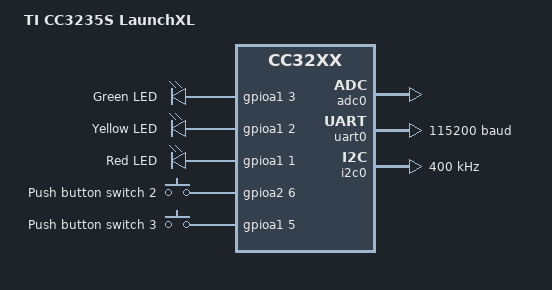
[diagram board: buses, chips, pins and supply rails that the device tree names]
/*
 * Copyright (c) 2019, Texas Instruments Incorporated
 *
 * SPDX-License-Identifier: Apache-2.0
 */

/dts-v1/;

#include <ti/cc3235s.dtsi>

/ {
	model = "TI CC3235S LaunchXL";
	compatible = "ti,cc3235s-launchxl", "ti,cc3235s", "ti,cc32xx";


	flash0: serial-flash@0 {
		reg = <0x0 DT_SIZE_K(4096)>;
	};

	aliases {
		uart-0 = &uart0;
		uart-1 = &uart1;
		i2c-0 = &i2c0;
		led0 = &led0;
		led1 = &led1;
		led2 = &led2;
		/* sw0/1 alias defined for compatibility with samples */
		sw0 = &sw2;
		sw1 = &sw3;
	};

	chosen {
		zephyr,sram = &sram0;
		zephyr,flash = &flash0;
		zephyr,console = &uart0;
		zephyr,shell-uart = &uart0;
	};

	leds {
		compatible = "gpio-leds";
		led0: led_0 {
			gpios = <&gpioa1 3 GPIO_ACTIVE_HIGH>;
			label = "Green LED";
		};
		led1: led_1 {
			gpios = <&gpioa1 2 GPIO_ACTIVE_HIGH>;
			label = "Yellow LED";
		};
		led2: led_2 {
			gpios = <&gpioa1 1 GPIO_ACTIVE_HIGH>;
			label = "Red LED";
		};
	};

	buttons {
		/* Push button 2 */
		compatible = "gpio-keys";
		sw2: button_0 {
			gpios = <&gpioa2 6 GPIO_ACTIVE_HIGH>;
			label = "Push button switch 2";
		};
		/* Push button 3 */
		sw3: button_1 {
			gpios = <&gpioa1 5 GPIO_ACTIVE_HIGH>;
			label = "Push button switch 3";
		};
	};
};

&adc0 {
	status = "okay";
};

&uart0 {
	status = "okay";
	current-speed = <115200>;
};

&i2c0 {
	status = "okay";
	clock-frequency = <I2C_BITRATE_FAST>;
};
